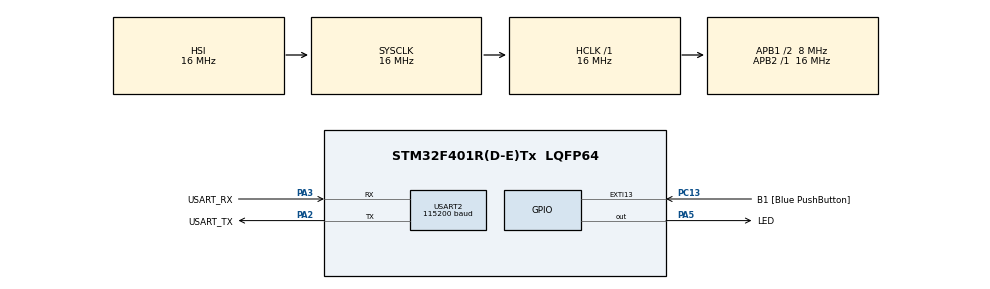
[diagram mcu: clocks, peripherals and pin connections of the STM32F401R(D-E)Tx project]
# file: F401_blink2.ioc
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Mcu.Family=STM32F4
Mcu.Name=STM32F401R(D-E)Tx
Mcu.Package=LQFP64
NVIC.PriorityGroup=NVIC_PRIORITYGROUP_4
PA13.GPIO_Label=TMS
PA13.Mode=Serial_Wire
PA13.Signal=SYS_JTMS-SWDIO
PA14.GPIO_Label=TCK
PA14.Mode=Serial_Wire
PA14.Signal=SYS_JTCK-SWCLK
PA2.GPIO_Label=USART_TX
PA2.GPIO_Mode=GPIO_MODE_AF_PP
PA2.GPIO_PuPd=GPIO_NOPULL
PA2.GPIO_Speed=GPIO_SPEED_FREQ_LOW
PA2.Mode=Asynchronous
PA2.Signal=USART2_TX
PA3.GPIO_Label=USART_RX
PA3.GPIO_Mode=GPIO_MODE_AF_PP
PA3.GPIO_PuPd=GPIO_NOPULL
PA3.GPIO_Speed=GPIO_SPEED_FREQ_LOW
PA3.Mode=Asynchronous
PA3.Signal=USART2_RX
PA5.GPIO_Label=LED
PA5.GPIO_Mode=GPIO_MODE_OUTPUT_PP
PA5.GPIO_ModeDefaultOutputPP=GPIO_MODE_OUTPUT_PP
PA5.GPIO_PuPd=GPIO_NOPULL
PA5.GPIO_Speed=GPIO_SPEED_FREQ_LOW
PA5.PinState=GPIO_PIN_SET
PA5.Signal=GPIO_Output
PB3.GPIO_Label=SWO
PB3.Signal=SYS_JTDO-SWO
PC13-ANTI_TAMP.GPIO_Label=B1 [Blue PushButton]
PC13-ANTI_TAMP.GPIO_ModeDefaultEXTI=GPIO_MODE_IT_FALLING
PC13-ANTI_TAMP.GPIO_PuPd=GPIO_NOPULL
PC13-ANTI_TAMP.Signal=GPXTI13
PC14-OSC32_IN.Signal=RCC_OSC32_IN
PC15-OSC32_OUT.Signal=RCC_OSC32_OUT
PH0\ -\ OSC_IN.Signal=RCC_OSC_IN
PH1\ -\ OSC_OUT.Signal=RCC_OSC_OUT
ProjectManager.HeapSize=0x200
ProjectManager.StackSize=0x400
ProjectManager.TargetToolchain=STM32CubeIDE
RCC.48MHZClocksFreq_Value=48000000
RCC.AHBFreq_Value=16000000
RCC.APB1CLKDivider=RCC_HCLK_DIV2
RCC.APB1Freq_Value=8000000
RCC.APB1TimFreq_Value=16000000
RCC.APB2Freq_Value=16000000
RCC.APB2TimFreq_Value=16000000
RCC.CortexFreq_Value=16000000
RCC.HCLKFreq_Value=16000000
RCC.HSE_VALUE=25000000
RCC.HSI_VALUE=16000000
RCC.LSE_VALUE=32768
RCC.PLLM=8
RCC.PLLN=168
RCC.PLLQ=7
RCC.SYSCLKFreq_VALUE=16000000
RCC.VCOOutputFreq_Value=336000000
USART2.BaudRate=115200
USART2.VirtualMode=VM_ASYNC
board=NUCLEO-F401RE

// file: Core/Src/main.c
/* USER CODE BEGIN Header */
/**
  ******************************************************************************
  * @file           : main.c
  * @brief          : Main program body
  ******************************************************************************
  * @attention
  *
  * Copyright (c) 2025 STMicroelectronics.
  * All rights reserved.
  *
  * This software is licensed under terms that can be found in the LICENSE file
  * in the root directory of this software component.
  * If no LICENSE file comes with this software, it is provided AS-IS.
  *
  ******************************************************************************
  */
/* USER CODE END Header */
#include "main.h"

/* USER CODE BEGIN Includes */
#include <stdio.h>
/* USER CODE END Includes */

UART_HandleTypeDef huart2;

void SystemClock_Config(void);
static void MX_GPIO_Init(void);
static void MX_USART2_UART_Init(void);

/* USER CODE BEGIN 0 */
int _write(int fd, char* ptr, int len){
    HAL_StatusTypeDef hstatus;

    if (fd == 1 || fd == 2) {
        hstatus = HAL_UART_Transmit(&huart2, (uint8_t *) ptr, len, HAL_MAX_DELAY);
        if (hstatus == HAL_OK)
            return len;
        else
            return -1;
    }
    return -1;
}
/* USER CODE END 0 */

int main(void)
{

  /* MCU Configuration--------------------------------------------------------*/

  /* Reset of all peripherals, Initializes the Flash interface and the Systick. */
  HAL_Init();

  /* Configure the system clock */
  SystemClock_Config();

  /* Initialize all configured peripherals */
  MX_GPIO_Init();
  MX_USART2_UART_Init();
  /* USER CODE BEGIN 2 */
  printf("Blink2 Starting\n");
  /* USER CODE END 2 */

  /* Infinite loop */
  /* USER CODE BEGIN WHILE */

  uint32_t now = 0, last_blink = 0, last_tick = 0, loop_cnt = 0;

  while (1){

      now = HAL_GetTick();

      if (now - last_blink >= 500){

          printf("Toggling GPIO\n");

          HAL_GPIO_TogglePin(LED_GPIO_Port, LED_Pin);

          last_blink = now;
      }
      if (now - last_tick >= 1000){
          printf("Tick %lu (loop_cnt = %lu)\n", now/ 1000, loop_cnt);

          loop_cnt = 0;
          last_tick = now;
      }

      ++loop_cnt;
  }
    /* USER CODE END WHILE */

}

void SystemClock_Config(void)
{
  RCC_OscInitTypeDef RCC_OscInitStruct = {0};
  RCC_ClkInitTypeDef RCC_ClkInitStruct = {0};

  /** Configure the main internal regulator output voltage
  */
  __HAL_RCC_PWR_CLK_ENABLE();
  __HAL_PWR_VOLTAGESCALING_CONFIG(PWR_REGULATOR_VOLTAGE_SCALE2);

  /** Initializes the RCC Oscillators according to the specified parameters
  * in the RCC_OscInitTypeDef structure.
  */
  RCC_OscInitStruct.OscillatorType = RCC_OSCILLATORTYPE_HSI;
  RCC_OscInitStruct.HSIState = RCC_HSI_ON;
  RCC_OscInitStruct.HSICalibrationValue = RCC_HSICALIBRATION_DEFAULT;
  RCC_OscInitStruct.PLL.PLLState = RCC_PLL_NONE;
  if (HAL_RCC_OscConfig(&RCC_OscInitStruct) != HAL_OK)
  {
    Error_Handler();
  }

  /** Initializes the CPU, AHB and APB buses clocks
  */
  RCC_ClkInitStruct.ClockType = RCC_CLOCKTYPE_HCLK|RCC_CLOCKTYPE_SYSCLK
                              |RCC_CLOCKTYPE_PCLK1|RCC_CLOCKTYPE_PCLK2;
  RCC_ClkInitStruct.SYSCLKSource = RCC_SYSCLKSOURCE_HSI;
  RCC_ClkInitStruct.AHBCLKDivider = RCC_SYSCLK_DIV1;
  RCC_ClkInitStruct.APB1CLKDivider = RCC_HCLK_DIV2;
  RCC_ClkInitStruct.APB2CLKDivider = RCC_HCLK_DIV1;

  if (HAL_RCC_ClockConfig(&RCC_ClkInitStruct, FLASH_LATENCY_0) != HAL_OK)
  {
    Error_Handler();
  }
}

static void MX_USART2_UART_Init(void)
{

  huart2.Instance = USART2;
  huart2.Init.BaudRate = 115200;
  huart2.Init.WordLength = UART_WORDLENGTH_8B;
  huart2.Init.StopBits = UART_STOPBITS_1;
  huart2.Init.Parity = UART_PARITY_NONE;
  huart2.Init.Mode = UART_MODE_TX_RX;
  huart2.Init.HwFlowCtl = UART_HWCONTROL_NONE;
  huart2.Init.OverSampling = UART_OVERSAMPLING_16;
  if (HAL_UART_Init(&huart2) != HAL_OK)
  {
    Error_Handler();
  }

}

static void MX_GPIO_Init(void)
{
  GPIO_InitTypeDef GPIO_InitStruct = {0};

  /* GPIO Ports Clock Enable */
  __HAL_RCC_GPIOC_CLK_ENABLE();
  __HAL_RCC_GPIOH_CLK_ENABLE();
  __HAL_RCC_GPIOA_CLK_ENABLE();
  __HAL_RCC_GPIOB_CLK_ENABLE();

  /*Configure GPIO pin Output Level */
  HAL_GPIO_WritePin(LED_GPIO_Port, LED_Pin, GPIO_PIN_SET);

  /*Configure GPIO pin : B1_Pin */
  GPIO_InitStruct.Pin = B1_Pin;
  GPIO_InitStruct.Mode = GPIO_MODE_IT_FALLING;
  GPIO_InitStruct.Pull = GPIO_NOPULL;
  HAL_GPIO_Init(B1_GPIO_Port, &GPIO_InitStruct);

  /*Configure GPIO pin : LED_Pin */
  GPIO_InitStruct.Pin = LED_Pin;
  GPIO_InitStruct.Mode = GPIO_MODE_OUTPUT_PP;
  GPIO_InitStruct.Pull = GPIO_NOPULL;
  GPIO_InitStruct.Speed = GPIO_SPEED_FREQ_LOW;
  HAL_GPIO_Init(LED_GPIO_Port, &GPIO_InitStruct);

}

void Error_Handler(void)
{
  __disable_irq();
  while (1)
  {
  }
}
